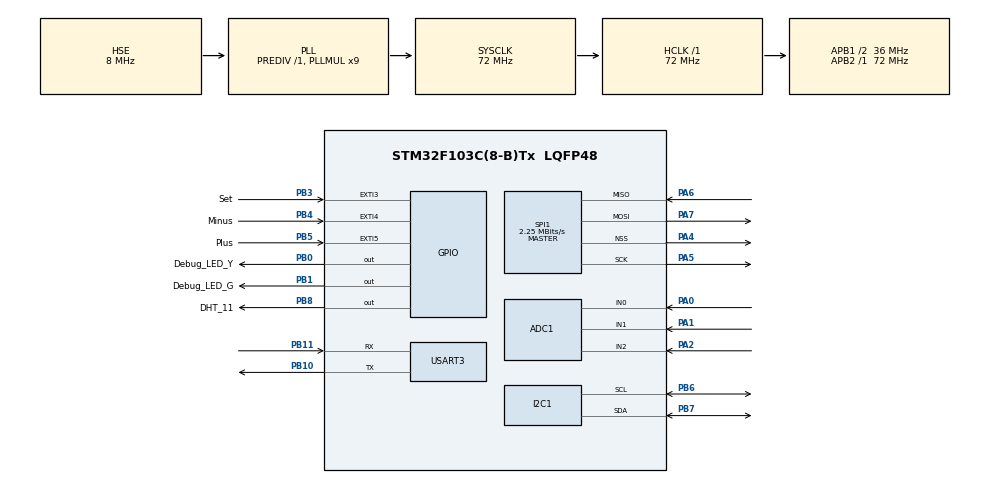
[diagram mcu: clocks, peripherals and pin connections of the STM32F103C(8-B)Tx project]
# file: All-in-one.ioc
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ADC1.Channel-0\#ChannelRegularConversion=ADC_CHANNEL_0
ADC1.ContinuousConvMode=ENABLE
ADC1.NbrOfConversionFlag=1
ADC1.Rank-0\#ChannelRegularConversion=1
ADC1.SamplingTime-0\#ChannelRegularConversion=ADC_SAMPLETIME_1CYCLE_5
ADC1.master=1
Mcu.Family=STM32F1
Mcu.Name=STM32F103C(8-B)Tx
Mcu.Package=LQFP48
NVIC.EXTI3_IRQn=true\:3\:0\:true\:false\:true\:true\:true
NVIC.EXTI4_IRQn=true\:3\:0\:true\:false\:true\:true\:true
NVIC.EXTI9_5_IRQn=true\:3\:0\:true\:false\:true\:true\:true
NVIC.PriorityGroup=NVIC_PRIORITYGROUP_4
PA0-WKUP.Signal=ADCx_IN0
PA1.Signal=ADCx_IN1
PA13.Mode=Serial_Wire
PA13.Signal=SYS_JTMS-SWDIO
PA14.Mode=Serial_Wire
PA14.Signal=SYS_JTCK-SWCLK
PA2.Signal=ADCx_IN2
PA4.Mode=NSS_Signal_Hard_Output
PA4.Signal=SPI1_NSS
PA5.Mode=Full_Duplex_Master
PA5.Signal=SPI1_SCK
PA6.Mode=Full_Duplex_Master
PA6.Signal=SPI1_MISO
PA7.Mode=Full_Duplex_Master
PA7.Signal=SPI1_MOSI
PB0.GPIO_Label=Debug_LED_Y
PB0.Signal=GPIO_Output
PB1.GPIO_Label=Debug_LED_G
PB1.Signal=GPIO_Output
PB10.Mode=Asynchronous
PB10.Signal=USART3_TX
PB11.Mode=Asynchronous
PB11.Signal=USART3_RX
PB3.GPIO_Label=Set
PB3.GPIO_ModeDefaultEXTI=GPIO_MODE_IT_FALLING
PB3.GPIO_PuPd=GPIO_PULLUP
PB3.Signal=GPXTI3
PB4.GPIO_Label=Minus
PB4.GPIO_ModeDefaultEXTI=GPIO_MODE_IT_FALLING
PB4.GPIO_PuPd=GPIO_PULLUP
PB4.Signal=GPXTI4
PB5.GPIO_Label=Plus
PB5.GPIO_ModeDefaultEXTI=GPIO_MODE_IT_FALLING
PB5.GPIO_PuPd=GPIO_PULLUP
PB5.Signal=GPXTI5
PB6.Mode=I2C
PB6.Signal=I2C1_SCL
PB7.Mode=I2C
PB7.Signal=I2C1_SDA
PB8.GPIO_Label=DHT_11
PB8.Signal=GPIO_Output
PD0-OSC_IN.Mode=HSE-External-Oscillator
PD0-OSC_IN.Signal=RCC_OSC_IN
PD1-OSC_OUT.Mode=HSE-External-Oscillator
PD1-OSC_OUT.Signal=RCC_OSC_OUT
ProjectManager.HeapSize=0x200
ProjectManager.StackSize=0x400
ProjectManager.TargetToolchain=STM32CubeIDE
RCC.ADCPresc=RCC_ADCPCLK2_DIV6
RCC.AHBFreq_Value=72000000
RCC.APB1CLKDivider=RCC_HCLK_DIV2
RCC.APB1Freq_Value=36000000
RCC.APB1TimFreq_Value=72000000
RCC.APB2Freq_Value=72000000
RCC.APB2TimFreq_Value=72000000
RCC.EnbaleCSS=true
RCC.HCLKFreq_Value=72000000
RCC.PLLMUL=RCC_PLL_MUL9
RCC.PLLSourceVirtual=RCC_PLLSOURCE_HSE
RCC.SYSCLKFreq_VALUE=72000000
RCC.SYSCLKSource=RCC_SYSCLKSOURCE_PLLCLK
RCC.USBFreq_Value=72000000
SH.ADCx_IN0.0=ADC1_IN0,IN0
SH.ADCx_IN1.0=ADC1_IN1,IN1
SH.ADCx_IN2.0=ADC1_IN2,IN2
SPI1.BaudRatePrescaler=SPI_BAUDRATEPRESCALER_32
SPI1.CalculateBaudRate=2.25 MBits/s
SPI1.Direction=SPI_DIRECTION_2LINES
SPI1.Mode=SPI_MODE_MASTER
SPI1.VirtualNSS=VM_NSSHARD
SPI1.VirtualType=VM_MASTER
USART3.VirtualMode=VM_ASYNC
VP_FATFS_VS_Generic.Mode=User_defined
VP_WWDG_VS_WWDG.Mode=WWDG_Activate
board=custom

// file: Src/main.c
/* USER CODE BEGIN Header */
/**
  ******************************************************************************
  * @file           : main.c
  * @brief          : Main program body
  ******************************************************************************
  * @attention
  *
  * <h2><center>&copy; Copyright (c) 2021 STMicroelectronics.
  * All rights reserved.</center></h2>
  *
  * This software component is licensed by ST under Ultimate Liberty license
  * SLA0044, the "License"; You may not use this file except in compliance with
  * the License. You may obtain a copy of the License at:
  *                             www.st.com/SLA0044
  *
  ******************************************************************************
  */
/* USER CODE END Header */
#include "main.h"
#include "fatfs.h"

/* USER CODE BEGIN Includes */
#include "fatfs_sd.h"
#include "string.h"
#include "stdio.h"

#include "DHT.h"
#include "myRTC.h"
#include "i2c-lcd.h"
#include "bmp280.h"
#include "myFunctions.h"
/* USER CODE END Includes */

ADC_HandleTypeDef hadc1;

I2C_HandleTypeDef hi2c1;

SPI_HandleTypeDef hspi1;

UART_HandleTypeDef huart3;

/* USER CODE BEGIN PV */
	DHT_type dht_type;
	DHT_data dht_data;

	FATFS fs;  // file system
	FIL fil; // File
	FRESULT fresult;  // result

	char days[7][4] = { "MON\0", "TUE\0", "WED\0", "THU\0", "FRI\0", "SAT\0", "SUN\0" };
	char SD_data[10][88];

	char lcd_upper[16+1];
	char lcd_lower[16+1];
	char buffer[BUFFER_SIZE];  // to store strings..

	RTC_DS3231 myRTC= {0};

	BMP280_HandleTypedef bmp280;
	float pressure, temperature, humidity;
	uint16_t size;

	// > 4000 - разрыв, абсолютно сухая почва,
	// 3700 .. 3850 если взяться пальцами
	// 1400 .. 3000 при погружении в стакан с кипячёнкой
	// < 400 - короткое замыкание проводом по выводам
	uint16_t adc0_soil;

	uint16_t adc0_light1;
	uint16_t adc0_light2;

	App myApp = {0, 0, 0};
/* USER CODE END PV */

void SystemClock_Config(void);
static void MX_GPIO_Init(void);
static void MX_I2C1_Init(void);
static void MX_USART3_UART_Init(void);
static void MX_ADC1_Init(void);
static void MX_SPI1_Init(void);

/* USER CODE BEGIN 0 */

void HAL_GPIO_EXTI_Callback(uint16_t GPIO_Pin) {

	__disable_irq();
	switch(GPIO_Pin){
	case Plus_Pin:
		//size = sprintf(buffer, "+\n");
		update_RTC(&myRTC, 1, hi2c1);
		break;

	case Minus_Pin:
		update_RTC(&myRTC, -1, hi2c1);
		//size = sprintf(buffer, "-\n");
		break;

	case Set_Pin:
		myApp.state++;
		//size = sprintf(buffer, "s, state = %d\n", state);
		break;
	default:
		size = sprintf(buffer, "!\n");
		break;
	}
	HAL_UART_Transmit(&huart3, (uint8_t*)buffer, strlen(buffer), 100);
	clear_buffer();
	__enable_irq();
	HAL_Delay(20);
}

uint16_t ADC_Result(ADC_HandleTypeDef *hadc, uint32_t ch){

       ADC_ChannelConfTypeDef sConfig;
       uint16_t adcResult = 0;

       sConfig.Channel = ch;
       sConfig.Rank = ADC_REGULAR_RANK_1;
       sConfig.SamplingTime = ADC_SAMPLETIME_13CYCLES_5;
       HAL_ADC_ConfigChannel(hadc, &sConfig);

       HAL_ADC_Start(hadc);
       HAL_ADC_PollForConversion(hadc, 100);
       adcResult = HAL_ADC_GetValue(hadc);
       HAL_ADC_Stop(hadc);

       return adcResult;
}
/* USER CODE END 0 */

int main(void)
{

  /* MCU Configuration--------------------------------------------------------*/

  /* Reset of all peripherals, Initializes the Flash interface and the Systick. */
  HAL_Init();

  /* Configure the system clock */
  SystemClock_Config();

  /* Initialize all configured peripherals */
  MX_GPIO_Init();
  MX_I2C1_Init();
  MX_USART3_UART_Init();
  MX_FATFS_Init();
  MX_ADC1_Init();
  MX_SPI1_Init();
  /* USER CODE BEGIN 2 */

  	//set_RTC(hi2c1, &myRTC);

	bmp280_init_default_params(&bmp280.params);
	bmp280.addr = BMP280_I2C_ADDRESS_0;
	bmp280.i2c = &hi2c1;

	while (!bmp280_init(&bmp280, &bmp280.params)) {
		size = sprintf(buffer, "BMP280 initialization failed\n");
		HAL_UART_Transmit(&huart3, (uint8_t*)buffer, strlen(buffer), 1000);
		HAL_Delay(2000);
	}
	bool bme280p = bmp280.id == BME280_CHIP_ID;
	size = sprintf(buffer, "BMP280: found %s\n", bme280p ? "BME280" : "BMP280");
	HAL_UART_Transmit(&huart3, (uint8_t*)buffer, strlen(buffer), 1000);

	// *******************  �?нициализация карты памяти SD ******************************
	fresult = f_mount(&fs, "/", 1);
	if (fresult != FR_OK) {
		send_uart ("ERROR!!! in mounting SD CARD...\n\n");
	}
	else {
		send_uart("SD CARD mounted successfully...\n\n");
		/* Open file to write/ create a file if it doesn't exist */
	    fresult = f_open(&fil, "data.txt", FA_OPEN_ALWAYS | FA_READ | FA_WRITE);

		/* Move to offset to the end of the file */
		fresult = f_lseek(&fil, f_size(&fil));
		if (fresult == FR_OK)send_uart ("About to update the DATA.TXT\n");
	}

	lcd_init ();
  /* USER CODE END 2 */

  /* Infinite loop */
  /* USER CODE BEGIN WHILE */
	while (1) {

		if (myApp.state == 0) { // Нормальный цикл измерения
			//HAL_GPIO_TogglePin(Debug_GPIO_Port, Debug_Pin);
			HAL_GPIO_WritePin(Debug_LED_Y_GPIO_Port, Debug_LED_Y_Pin, GPIO_PIN_SET);

			// ************************ 1. RTC ***********************************************
			myRTC.RTC_RX_buffer[0] = 0;
			RTC_WriteBuffer(hi2c1, &myRTC, 1);

			while (HAL_I2C_GetState(&hi2c1) != HAL_I2C_STATE_READY) {}

			RTC_ReadBuffer(hi2c1, &myRTC, 7);

			myRTC.date = BCD_to_DEC(myRTC.RTC_RX_buffer[4]);
			myRTC.month = BCD_to_DEC(myRTC.RTC_RX_buffer[5]);
			myRTC.year = BCD_to_DEC(myRTC.RTC_RX_buffer[6]);
			myRTC.day = BCD_to_DEC(myRTC.RTC_RX_buffer[3]);
			myRTC.hour = BCD_to_DEC(myRTC.RTC_RX_buffer[2]);
			myRTC.min = BCD_to_DEC(myRTC.RTC_RX_buffer[1]);
			myRTC.sec = BCD_to_DEC(myRTC.RTC_RX_buffer[0]);

			// ********************** 2. BMP **************************************************
			//HAL_Delay(100);
			while (!bmp280_read_float(&bmp280, &temperature, &pressure, &humidity)) {
				size = sprintf(buffer, "BMP280 reading failed\n");
				HAL_UART_Transmit(&huart3, (uint8_t*)buffer, strlen(buffer), 100);
				HAL_Delay(500);
			}

			// ********************** 3. DHT ****************************************************
			if (myApp.lcd_cycle_counter == 3 || myApp.lcd_cycle_counter == 6){
				dht_data = DHT_getData(DHT11);
			}

			// ********************** 4. Опрос АЦП ********************************************
			adc0_soil   = ADC_Result(&hadc1, 0);
			adc0_light1 = ADC_Result(&hadc1, 1);
			adc0_light2 = ADC_Result(&hadc1, 2);

			// ********************** 5. Передача по UART ***************************************
			clear_buffer();
			// 87 символов в этой строке
			snprintf(buffer, 100, "%02u:%02u:%02u %s %02u/%02u/%02u T = %.2f*C H = %02d%% P = %.2f Pa S = %04d L1 = %04d L2 = %04d\n",
																myRTC.hour, myRTC.min, myRTC.sec,
																days[myRTC.day-1],
																myRTC.date, myRTC.month, myRTC.year,
																temperature, (uint8_t)dht_data.hum, pressure,
																adc0_soil, adc0_light1, adc0_light2);
			HAL_UART_Transmit(&huart3, (uint8_t*)buffer, strlen(buffer), 1000);

			// *********************** 6. Вывод на LCD ******************************************
			// NB! S-N-PRINTF !!! not a S-PRINTF
			snprintf(lcd_upper, 17, "%02u:%02u %02u/%02u/%02u", myRTC.hour, myRTC.min, myRTC.date, myRTC.month, myRTC.year);

			if (myApp.lcd_cycle_counter < 3){
				snprintf(lcd_lower, 17, "%.1f*C  %.1f mm", temperature, pressure/133.3244);
				//lcd_lower[0] = 'A';
			} else {
				//snprintf(lcd_lower, 17, "%.1f*C  %d%%     ", temperature, (uint8_t)dht_data.hum);
				snprintf(lcd_lower, 17, "%.1f*C  %02d%%  %s", temperature, (uint8_t)dht_data.hum, days[myRTC.day-1]);
			}

			//lcd_clear ();
			lcd_put_cur(0, 0);
			lcd_send_string(lcd_upper);
			lcd_put_cur(1, 0);
			lcd_send_string(lcd_lower);

			//snprintf(buffer, 100, "%02u\n", cycle_counter);
			//HAL_UART_Transmit(&huart3, (uint8_t*)buffer, strlen(buffer), 1000);

			// *********************** 7. Запись на SD-карту ***********************************
			if (myApp.sd_cycle_counter == 10) {

				for (uint8_t i = 0; i < 10; i++){
					fresult = f_puts(SD_data[i], &fil);
				}
				f_sync(&fil);

				// Clear SD_data buffer
				for (uint8_t i = 0; i < 10; i++){
					for (uint8_t j = 0; j < 88; j++){
						SD_data[i][j] = '\0';
					}
				}
				clear_buffer();

				myApp.sd_cycle_counter = 0;
			}
			else {

				memcpy(SD_data[myApp.sd_cycle_counter], buffer, strlen(buffer));
				myApp.sd_cycle_counter++;
			}

			myApp.lcd_cycle_counter++;

			if (myApp.lcd_cycle_counter == 6) myApp.lcd_cycle_counter = 0;

			HAL_GPIO_WritePin(Debug_LED_Y_GPIO_Port, Debug_LED_Y_Pin, GPIO_PIN_RESET);
			HAL_Delay(975);
		}

		// **************************************************************************************
		// **************************  Настройка часов  *****************************************
		// **************************************************************************************
		else if (myApp.state > 0 && myApp.state < 6) {

			lcd_clear ();
			// �?сключаем мигание дисплея при обновлении
			while(myApp.state > 0 && myApp.state < 6){

				lcd_put_cur(0, 0);
				snprintf(lcd_upper, 17, "%02u:%02u %02u/%02u/%02u", myRTC.hour, myRTC.min, myRTC.date, myRTC.month, myRTC.year);
				lcd_send_string(lcd_upper);
				//HAL_Delay(500);

				switch(myApp.state){

				case 1:
					lcd_put_cur(0, 0);
					snprintf(lcd_upper, 17, "  :%02u %02u/%02u/%02u", /* myRTC.hour,*/ myRTC.min, myRTC.date, myRTC.month, myRTC.year);
					lcd_send_string(lcd_upper);
					//HAL_Delay(500);
					break;
				case 2:
					lcd_put_cur(0, 0);
					snprintf(lcd_upper, 17, "%02u:   %02u/%02u/%02u", myRTC.hour, /* myRTC.min,*/ myRTC.date, myRTC.month, myRTC.year);
					lcd_send_string(lcd_upper);
					//HAL_Delay(500);
					break;
				case 3:
					lcd_put_cur(0, 0);
					snprintf(lcd_upper, 17, "%02u:%02u   /%02u/%02u", myRTC.hour, myRTC.min, /* myRTC.date,*/ myRTC.month, myRTC.year);
					lcd_send_string(lcd_upper);
					//HAL_Delay(500);
					break;
				case 4:
					lcd_put_cur(0, 0);
					snprintf(lcd_upper, 17, "%02u:%02u %02u/  /%02u", myRTC.hour, myRTC.min, myRTC.date, /*myRTC.month,*/ myRTC.year);
					lcd_send_string(lcd_upper);
					//HAL_Delay(500);
					break;
				case 5:
					lcd_put_cur(0, 0);
					snprintf(lcd_upper, 17, "%02u:%02u %02u/%02u/  ", myRTC.hour, myRTC.min, myRTC.date, myRTC.month /*myRTC.year*/);
					lcd_send_string(lcd_upper);
					//HAL_Delay(500);
					break;

				case 6:
					snprintf(lcd_upper, 17, "Set time to %02u:%02u %02u/%02u/%02u", myRTC.hour, myRTC.min, myRTC.date, myRTC.month, myRTC.year);
					HAL_UART_Transmit(&huart3, (uint8_t*)buffer, strlen(buffer), 100);
					set_RTC(hi2c1, &myRTC);

					lcd_put_cur(1, 0);
					snprintf(lcd_lower, 17, "Saved");
					lcd_send_string(lcd_lower);
					//HAL_Delay(500);
					myApp.state = 0;
					break;
				}
			}
		}
//		else if (state == 6) {
//			snprintf(lcd_upper, 17, "Set time to %02u:%02u %02u.%02u.%02u", myRTC.hour, myRTC.min, myRTC.date, myRTC.month, myRTC.year);
//			HAL_UART_Transmit(&huart3, (uint8_t*)buffer, strlen(buffer), 100);
//			set_RTC(hi2c1, &myRTC);
//		}

		else {
			size = sprintf(buffer, "Unknown execution state\n");
			HAL_UART_Transmit(&huart3, (uint8_t*)buffer, strlen(buffer), 100);
			myApp.state = 0;
		}

    /* USER CODE END WHILE */

  }
}

void SystemClock_Config(void)
{
  RCC_OscInitTypeDef RCC_OscInitStruct = {0};
  RCC_ClkInitTypeDef RCC_ClkInitStruct = {0};
  RCC_PeriphCLKInitTypeDef PeriphClkInit = {0};

  /** Initializes the RCC Oscillators according to the specified parameters
  * in the RCC_OscInitTypeDef structure.
  */
  RCC_OscInitStruct.OscillatorType = RCC_OSCILLATORTYPE_HSE;
  RCC_OscInitStruct.HSEState = RCC_HSE_ON;
  RCC_OscInitStruct.HSEPredivValue = RCC_HSE_PREDIV_DIV1;
  RCC_OscInitStruct.HSIState = RCC_HSI_ON;
  RCC_OscInitStruct.PLL.PLLState = RCC_PLL_ON;
  RCC_OscInitStruct.PLL.PLLSource = RCC_PLLSOURCE_HSE;
  RCC_OscInitStruct.PLL.PLLMUL = RCC_PLL_MUL9;
  if (HAL_RCC_OscConfig(&RCC_OscInitStruct) != HAL_OK)
  {
    Error_Handler();
  }
  /** Initializes the CPU, AHB and APB buses clocks
  */
  RCC_ClkInitStruct.ClockType = RCC_CLOCKTYPE_HCLK|RCC_CLOCKTYPE_SYSCLK
                              |RCC_CLOCKTYPE_PCLK1|RCC_CLOCKTYPE_PCLK2;
  RCC_ClkInitStruct.SYSCLKSource = RCC_SYSCLKSOURCE_PLLCLK;
  RCC_ClkInitStruct.AHBCLKDivider = RCC_SYSCLK_DIV1;
  RCC_ClkInitStruct.APB1CLKDivider = RCC_HCLK_DIV2;
  RCC_ClkInitStruct.APB2CLKDivider = RCC_HCLK_DIV1;

  if (HAL_RCC_ClockConfig(&RCC_ClkInitStruct, FLASH_LATENCY_2) != HAL_OK)
  {
    Error_Handler();
  }
  PeriphClkInit.PeriphClockSelection = RCC_PERIPHCLK_ADC;
  PeriphClkInit.AdcClockSelection = RCC_ADCPCLK2_DIV6;
  if (HAL_RCCEx_PeriphCLKConfig(&PeriphClkInit) != HAL_OK)
  {
    Error_Handler();
  }
  /** Enables the Clock Security System
  */
  HAL_RCC_EnableCSS();
}

static void MX_ADC1_Init(void)
{

  ADC_ChannelConfTypeDef sConfig = {0};

  /** Common config
  */
  hadc1.Instance = ADC1;
  hadc1.Init.ScanConvMode = ADC_SCAN_DISABLE;
  hadc1.Init.ContinuousConvMode = ENABLE;
  hadc1.Init.DiscontinuousConvMode = DISABLE;
  hadc1.Init.ExternalTrigConv = ADC_SOFTWARE_START;
  hadc1.Init.DataAlign = ADC_DATAALIGN_RIGHT;
  hadc1.Init.NbrOfConversion = 1;
  if (HAL_ADC_Init(&hadc1) != HAL_OK)
  {
    Error_Handler();
  }
  /** Configure Regular Channel
  */
  sConfig.Channel = ADC_CHANNEL_0;
  sConfig.Rank = ADC_REGULAR_RANK_1;
  sConfig.SamplingTime = ADC_SAMPLETIME_1CYCLE_5;
  if (HAL_ADC_ConfigChannel(&hadc1, &sConfig) != HAL_OK)
  {
    Error_Handler();
  }

}

static void MX_I2C1_Init(void)
{

  hi2c1.Instance = I2C1;
  hi2c1.Init.ClockSpeed = 100000;
  hi2c1.Init.DutyCycle = I2C_DUTYCYCLE_2;
  hi2c1.Init.OwnAddress1 = 0;
  hi2c1.Init.AddressingMode = I2C_ADDRESSINGMODE_7BIT;
  hi2c1.Init.DualAddressMode = I2C_DUALADDRESS_DISABLE;
  hi2c1.Init.OwnAddress2 = 0;
  hi2c1.Init.GeneralCallMode = I2C_GENERALCALL_DISABLE;
  hi2c1.Init.NoStretchMode = I2C_NOSTRETCH_DISABLE;
  if (HAL_I2C_Init(&hi2c1) != HAL_OK)
  {
    Error_Handler();
  }

}

static void MX_SPI1_Init(void)
{

  /* SPI1 parameter configuration*/
  hspi1.Instance = SPI1;
  hspi1.Init.Mode = SPI_MODE_MASTER;
  hspi1.Init.Direction = SPI_DIRECTION_2LINES;
  hspi1.Init.DataSize = SPI_DATASIZE_8BIT;
  hspi1.Init.CLKPolarity = SPI_POLARITY_LOW;
  hspi1.Init.CLKPhase = SPI_PHASE_1EDGE;
  hspi1.Init.NSS = SPI_NSS_HARD_OUTPUT;
  hspi1.Init.BaudRatePrescaler = SPI_BAUDRATEPRESCALER_32;
  hspi1.Init.FirstBit = SPI_FIRSTBIT_MSB;
  hspi1.Init.TIMode = SPI_TIMODE_DISABLE;
  hspi1.Init.CRCCalculation = SPI_CRCCALCULATION_DISABLE;
  hspi1.Init.CRCPolynomial = 10;
  if (HAL_SPI_Init(&hspi1) != HAL_OK)
  {
    Error_Handler();
  }

}

static void MX_USART3_UART_Init(void)
{

  huart3.Instance = USART3;
  huart3.Init.BaudRate = 115200;
  huart3.Init.WordLength = UART_WORDLENGTH_8B;
  huart3.Init.StopBits = UART_STOPBITS_1;
  huart3.Init.Parity = UART_PARITY_NONE;
  huart3.Init.Mode = UART_MODE_TX_RX;
  huart3.Init.HwFlowCtl = UART_HWCONTROL_NONE;
  huart3.Init.OverSampling = UART_OVERSAMPLING_16;
  if (HAL_UART_Init(&huart3) != HAL_OK)
  {
    Error_Handler();
  }

}

static void MX_GPIO_Init(void)
{
  GPIO_InitTypeDef GPIO_InitStruct = {0};

  /* GPIO Ports Clock Enable */
  __HAL_RCC_GPIOD_CLK_ENABLE();
  __HAL_RCC_GPIOA_CLK_ENABLE();
  __HAL_RCC_GPIOB_CLK_ENABLE();

  /*Configure GPIO pin Output Level */
  HAL_GPIO_WritePin(GPIOB, Debug_LED_Y_Pin|Debug_LED_G_Pin|DHT_11_Pin, GPIO_PIN_RESET);

  /*Configure GPIO pins : Debug_LED_Y_Pin Debug_LED_G_Pin DHT_11_Pin */
  GPIO_InitStruct.Pin = Debug_LED_Y_Pin|Debug_LED_G_Pin|DHT_11_Pin;
  GPIO_InitStruct.Mode = GPIO_MODE_OUTPUT_PP;
  GPIO_InitStruct.Pull = GPIO_NOPULL;
  GPIO_InitStruct.Speed = GPIO_SPEED_FREQ_LOW;
  HAL_GPIO_Init(GPIOB, &GPIO_InitStruct);

  /*Configure GPIO pins : Set_Pin Minus_Pin Plus_Pin */
  GPIO_InitStruct.Pin = Set_Pin|Minus_Pin|Plus_Pin;
  GPIO_InitStruct.Mode = GPIO_MODE_IT_FALLING;
  GPIO_InitStruct.Pull = GPIO_PULLUP;
  HAL_GPIO_Init(GPIOB, &GPIO_InitStruct);

  /* EXTI interrupt init*/
  HAL_NVIC_SetPriority(EXTI3_IRQn, 3, 0);
  HAL_NVIC_EnableIRQ(EXTI3_IRQn);

  HAL_NVIC_SetPriority(EXTI4_IRQn, 3, 0);
  HAL_NVIC_EnableIRQ(EXTI4_IRQn);

  HAL_NVIC_SetPriority(EXTI9_5_IRQn, 3, 0);
  HAL_NVIC_EnableIRQ(EXTI9_5_IRQn);

}

void Error_Handler(void)
{
}

/************************ (C) COPYRIGHT STMicroelectronics *****END OF FILE****/
